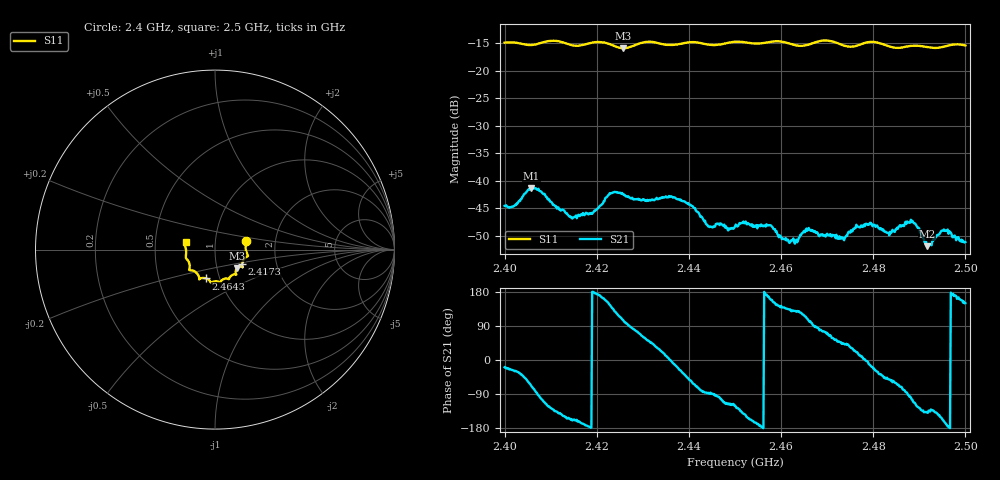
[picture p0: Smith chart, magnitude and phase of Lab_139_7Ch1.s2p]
# Hz S RI R 50
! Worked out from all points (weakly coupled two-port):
!   601 points, 2.4 GHz to 2.5 GHz, reference 50 ohm
!   highest |S21| = -41.34 dB at 2.4058 GHz (marker M1); lowest = -51.9 dB at 2.4917 GHz (marker M2)
!   lowest |S11| = -15.9 dB at 2.4257 GHz (marker M3), VSWR 1.38, Z = 62.5 - j13.1 ohm
!   |S11| at or under -10 dB: start of sweep to end of sweep
!   S12 and S22 are empty: the file has one direction only
!   S11 on the Smith chart (normalised r, x): 2.4 GHz: 1.41, +0.14; 2.4173 GHz: 1.34, -0.23; 2.4643 GHz: 0.86, -0.28; 2.5 GHz: 0.72, +0.06
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2.4e9  0.173 0.0487  0.00559 -0.00194  0 0  0 0
2.405833e9  0.1709 0.00409  0.00302 -0.00803  0 0  0 0
2.414333e9  0.1639 -0.0499  -0.0043 -0.00179  0 0  0 0
2.416667e9  0.1526 -0.0749  -0.00482 -0.00114  0 0  0 0
2.417333e9  0.1516 -0.0823  -0.00479 -0.000836  0 0  0 0
2.423e9  0.1453 -0.094  -0.00611 0.00467  0 0  0 0
2.425667e9  0.1229 -0.1021  -0.00208 0.00725  0 0  0 0
2.433333e9  0.1125 -0.1376  0.00589 0.00341  0 0  0 0
2.439333e9  0.0792 -0.1609  0.00467 -0.00428  0 0  0 0
2.444667e9  0.0584 -0.1614  0.000259 -0.00383  0 0  0 0
2.45e9  0.0289 -0.1809  -0.00193 -0.00331  0 0  0 0
2.457333e9  -0.0158 -0.181  -0.00382 0.000886  0 0  0 0
2.461667e9  -0.0287 -0.1748  -0.00192 0.00201  0 0  0 0
2.464333e9  -0.0499 -0.1605  -0.00184 0.00265  0 0  0 0
2.466667e9  -0.0758 -0.1592  -0.000456 0.00347  0 0  0 0
2.473333e9  -0.093 -0.1434  0.00216 0.00215  0 0  0 0
2.479e9  -0.141 -0.1148  0.00398 -0.000723  0 0  0 0
2.483333e9  -0.1407 -0.0897  0.00212 -0.00261  0 0  0 0
2.488667e9  -0.162 -0.0468  -0.00145 -0.00394  0 0  0 0
2.491667e9  -0.1613 -0.0287  -0.00188 -0.00172  0 0  0 0
2.495667e9  -0.1658 0.0163  -0.00343 -0.000831  0 0  0 0
2.5e9  -0.1639 0.0424  -0.0024 0.00139  0 0  0 0
